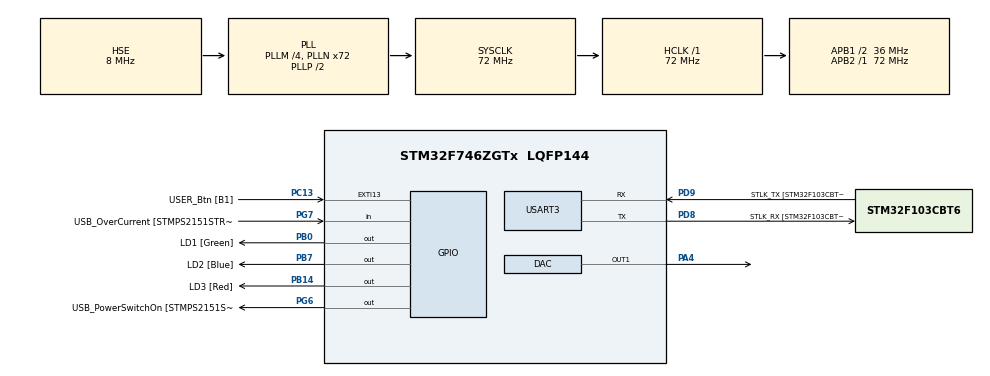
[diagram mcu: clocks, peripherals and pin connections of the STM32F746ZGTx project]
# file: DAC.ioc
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DAC.DAC_Trigger=DAC_TRIGGER_T2_TRGO
Dma.DAC1.0.Direction=DMA_MEMORY_TO_PERIPH
Dma.DAC1.0.FIFOMode=DMA_FIFOMODE_DISABLE
Dma.DAC1.0.Instance=DMA1_Stream5
Dma.DAC1.0.MemDataAlignment=DMA_MDATAALIGN_HALFWORD
Dma.DAC1.0.MemInc=DMA_MINC_ENABLE
Dma.DAC1.0.Mode=DMA_CIRCULAR
Dma.DAC1.0.PeriphDataAlignment=DMA_PDATAALIGN_HALFWORD
Dma.DAC1.0.PeriphInc=DMA_PINC_DISABLE
Dma.DAC1.0.Priority=DMA_PRIORITY_LOW
Dma.Request0=DAC1
Mcu.Family=STM32F7
Mcu.Name=STM32F746ZGTx
Mcu.Package=LQFP144
NVIC.DMA1_Stream5_IRQn=true\:0\:0\:false\:false\:true\:false\:true\:true
NVIC.PriorityGroup=NVIC_PRIORITYGROUP_4
NVIC.TIM2_IRQn=true\:0\:0\:false\:false\:true\:true\:true\:true
NVIC.TIM6_DAC_IRQn=true\:0\:0\:false\:false\:true\:true\:true\:true
PA1.GPIO_Label=RMII_REF_CLK [LAN8742A-CZ-TR_REFCLK0]
PA1.Signal=ETH_REF_CLK
PA10.GPIO_Label=USB_ID
PA10.Signal=USB_OTG_FS_ID
PA11.GPIO_Label=USB_DM
PA11.Signal=USB_OTG_FS_DM
PA12.GPIO_Label=USB_DP
PA12.Signal=USB_OTG_FS_DP
PA13.GPIO_Label=TMS
PA13.Mode=Serial_Wire
PA13.Signal=SYS_JTMS-SWDIO
PA14.GPIO_Label=TCK
PA14.Mode=Serial_Wire
PA14.Signal=SYS_JTCK-SWCLK
PA2.GPIO_Label=RMII_MDIO [LAN8742A-CZ-TR_MDIO]
PA2.Signal=ETH_MDIO
PA4.Signal=COMP_DAC1_group
PA7.GPIO_Label=RMII_CRS_DV [LAN8742A-CZ-TR_CRS_DV]
PA7.Signal=ETH_CRS_DV
PA8.GPIO_Label=USB_SOF [TP1]
PA8.Signal=USB_OTG_FS_SOF
PA9.GPIO_Label=USB_VBUS
PA9.Signal=USB_OTG_FS_VBUS
PB0.GPIO_Label=LD1 [Green]
PB0.Signal=GPIO_Output
PB13.GPIO_Label=RMII_TXD1 [LAN8742A-CZ-TR_TXD1]
PB13.Signal=ETH_TXD1
PB14.GPIO_Label=LD3 [Red]
PB14.Signal=GPIO_Output
PB3.GPIO_Label=SW0
PB3.Signal=SYS_JTDO-SWO
PB7.GPIO_Label=LD2 [Blue]
PB7.Signal=GPIO_Output
PC1.GPIO_Label=RMII_MDC [LAN8742A-CZ-TR_MDC]
PC1.Signal=ETH_MDC
PC13.GPIO_Label=USER_Btn [B1]
PC13.Signal=GPXTI13
PC14/OSC32_IN.Mode=LSE-External-Oscillator
PC14/OSC32_IN.Signal=RCC_OSC32_IN
PC15/OSC32_OUT.Mode=LSE-External-Oscillator
PC15/OSC32_OUT.Signal=RCC_OSC32_OUT
PC4.GPIO_Label=RMII_RXD0 [LAN8742A-CZ-TR_RXD0]
PC4.Signal=ETH_RXD0
PC5.GPIO_Label=RMII_RXD1 [LAN8742A-CZ-TR_RXD1]
PC5.Signal=ETH_RXD1
PD8.GPIO_Label=STLK_RX [STM32F103CBT6_PA3]
PD8.Mode=Asynchronous
PD8.Signal=USART3_TX
PD9.GPIO_Label=STLK_TX [STM32F103CBT6_PA2]
PD9.Mode=Asynchronous
PD9.Signal=USART3_RX
PG11.GPIO_Label=RMII_TX_EN [LAN8742A-CZ-TR_TXEN]
PG11.Signal=ETH_TX_EN
PG13.GPIO_Label=RMII_TXD0 [LAN8742A-CZ-TR_TXD0]
PG13.Signal=ETH_TXD0
PG6.GPIO_Label=USB_PowerSwitchOn [STMPS2151STR_EN]
PG6.Signal=GPIO_Output
PG7.GPIO_Label=USB_OverCurrent [STMPS2151STR_FAULT]
PG7.Signal=GPIO_Input
PH0/OSC_IN.GPIO_Label=MCO [STM32F103CBT6_PA8]
PH0/OSC_IN.Mode=HSE-External-Clock-Source
PH0/OSC_IN.Signal=RCC_OSC_IN
PH1/OSC_OUT.Mode=HSE-External-Clock-Source
PH1/OSC_OUT.Signal=RCC_OSC_OUT
ProjectManager.HeapSize=0x200
ProjectManager.StackSize=0x400
ProjectManager.TargetToolchain=STM32CubeIDE
RCC.48MHZClocksFreq_Value=24000000
RCC.AHBFreq_Value=72000000
RCC.APB1CLKDivider=RCC_HCLK_DIV2
RCC.APB1Freq_Value=36000000
RCC.APB1TimFreq_Value=72000000
RCC.APB2Freq_Value=72000000
RCC.APB2TimFreq_Value=72000000
RCC.CortexFreq_Value=72000000
RCC.HCLKFreq_Value=72000000
RCC.HSE_VALUE=8000000
RCC.HSI_VALUE=16000000
RCC.PLLM=4
RCC.PLLMUL=RCC_PLL_MUL9
RCC.PLLN=72
RCC.PLLQ=3
RCC.PLLSourceVirtual=RCC_PLLSOURCE_HSE
RCC.PRESCALERUSB=RCC_USBCLKSOURCE_PLL_DIV1_5
RCC.SYSCLKFreq_VALUE=72000000
RCC.SYSCLKSource=RCC_SYSCLKSOURCE_PLLCLK
RCC.SYSCLKSourceVirtual=RCC_SYSCLKSOURCE_PLLCLK
RCC.USBFreq_Value=48000000
RCC.VCOOutputFreq_Value=144000000
SH.COMP_DAC1_group.0=DAC_OUT1,DAC_OUT1
TIM2.Period=9
TIM2.Prescaler=7199
TIM2.TIM_MasterOutputTrigger=TIM_TRGO_UPDATE
USART3.VirtualMode-Asynchronous=VM_ASYNC
VP_TIM2_VS_ClockSourceINT.Mode=Internal
board=NUCLEO-F746ZG

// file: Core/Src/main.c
/* USER CODE BEGIN Header */
/**
  ******************************************************************************
  * @file           : main.c
  * @brief          : Main program body
  ******************************************************************************
  * @attention
  *
  * Copyright (c) 2022 STMicroelectronics.
  * All rights reserved.
  *
  * This software is licensed under terms that can be found in the LICENSE file
  * in the root directory of this software component.
  * If no LICENSE file comes with this software, it is provided AS-IS.
  *
  ******************************************************************************
  */
/* USER CODE END Header */
#include "main.h"
#include "dac.h"
#include "dma.h"
#include "tim.h"
#include "usart.h"
#include "gpio.h"

/* USER CODE BEGIN Includes */
#include "User_dac.h"
#include "stdio.h"
#include "math.h"
/* USER CODE END Includes */

/* USER CODE BEGIN PV */
const float ts = 0.001f; // [s]
float A  = 1.0f;   // [V]
const float A0 = 1.0f;   // [V]
const float f  = 5.0f;  // [Hz]
const float T  = 1/f-ts; // [s]

float y = 0.0f; // [V]

float t = 0.0f;  // [s]

int out = 5;
int out_svw=0;
/* USER CODE END PV */

void SystemClock_Config(void);

/* USER CODE BEGIN 0 */
void HAL_TIM_PeriodElapsedCallback(TIM_HandleTypeDef *htim)
{
  /* Analog output: high priority */
  if(htim->Instance == TIM2)
  {
    y = A*sinf(2*M_PI*f*t) + A0;
    t = (t < T) ? (t+ts) : (0);
    DAC_SetVoltage(&hdac,DAC_CHANNEL_1, y);
   	out_svw = HAL_DAC_GetValue(&hdac, DAC_CHANNEL_1);
  }
}
/* USER CODE END 0 */

int main(void)
{

  /* MCU Configuration--------------------------------------------------------*/

  /* Reset of all peripherals, Initializes the Flash interface and the Systick. */
  HAL_Init();

  /* Configure the system clock */
  SystemClock_Config();

  /* Initialize all configured peripherals */
  MX_GPIO_Init();
  MX_USART3_UART_Init();
  MX_DMA_Init();
  MX_DAC_Init();
  MX_TIM2_Init();
  /* USER CODE BEGIN 2 */
  HAL_TIM_Base_Start_IT(&htim2);
  HAL_DAC_Start(&hdac,DAC_CHANNEL_1);
  /* USER CODE END 2 */

  /* Infinite loop */
  while (1)
  {

  }
}

void SystemClock_Config(void)
{
  RCC_OscInitTypeDef RCC_OscInitStruct = {0};
  RCC_ClkInitTypeDef RCC_ClkInitStruct = {0};

  /** Configure LSE Drive Capability
  */
  HAL_PWR_EnableBkUpAccess();

  /** Configure the main internal regulator output voltage
  */
  __HAL_RCC_PWR_CLK_ENABLE();
  __HAL_PWR_VOLTAGESCALING_CONFIG(PWR_REGULATOR_VOLTAGE_SCALE3);

  /** Initializes the RCC Oscillators according to the specified parameters
  * in the RCC_OscInitTypeDef structure.
  */
  RCC_OscInitStruct.OscillatorType = RCC_OSCILLATORTYPE_HSE;
  RCC_OscInitStruct.HSEState = RCC_HSE_BYPASS;
  RCC_OscInitStruct.PLL.PLLState = RCC_PLL_ON;
  RCC_OscInitStruct.PLL.PLLSource = RCC_PLLSOURCE_HSE;
  RCC_OscInitStruct.PLL.PLLM = 4;
  RCC_OscInitStruct.PLL.PLLN = 72;
  RCC_OscInitStruct.PLL.PLLP = RCC_PLLP_DIV2;
  RCC_OscInitStruct.PLL.PLLQ = 3;
  if (HAL_RCC_OscConfig(&RCC_OscInitStruct) != HAL_OK)
  {
    Error_Handler();
  }

  /** Initializes the CPU, AHB and APB buses clocks
  */
  RCC_ClkInitStruct.ClockType = RCC_CLOCKTYPE_HCLK|RCC_CLOCKTYPE_SYSCLK
                              |RCC_CLOCKTYPE_PCLK1|RCC_CLOCKTYPE_PCLK2;
  RCC_ClkInitStruct.SYSCLKSource = RCC_SYSCLKSOURCE_PLLCLK;
  RCC_ClkInitStruct.AHBCLKDivider = RCC_SYSCLK_DIV1;
  RCC_ClkInitStruct.APB1CLKDivider = RCC_HCLK_DIV2;
  RCC_ClkInitStruct.APB2CLKDivider = RCC_HCLK_DIV1;

  if (HAL_RCC_ClockConfig(&RCC_ClkInitStruct, FLASH_LATENCY_2) != HAL_OK)
  {
    Error_Handler();
  }
}

void Error_Handler(void)
{
  __disable_irq();
  while (1)
  {
  }
}
